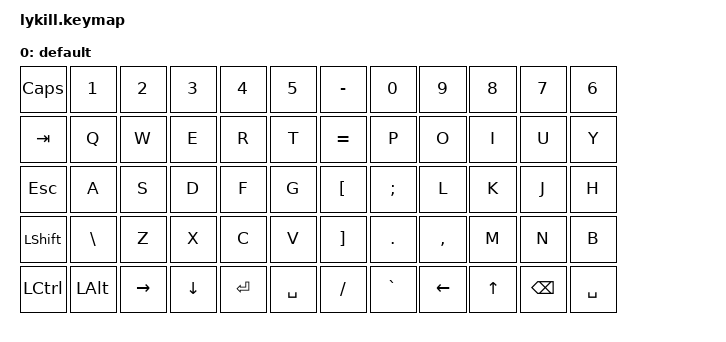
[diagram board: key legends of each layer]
/*
 * Copyright (c) 2020 The ZMK Contributors
 *
 * SPDX-License-Identifier: MIT
 */

#include <behaviors.dtsi>
#include <dt-bindings/zmk/bt.h>
#include <dt-bindings/zmk/ext_power.h>
#include <dt-bindings/zmk/keys.h>
#include <dt-bindings/zmk/rgb.h>

#define BASE 0

/ {
    conditional_layers {
        compatible = "zmk,conditional-layers";
    };

    keymap {
        compatible = "zmk,keymap";

        default_layer {
            label = "default";

            // ------------------------------------------------------------------------------------------------------------------
            //|         ESC |F1   | F2  |  F3  |  F4  |  F5  |
            //| SqBr|   `   |  1  |  2  |  3   |  4   |  5   |                   |  6   |  7    |  8    |  9   |   0   |       |
            //| SqBr|  <    |  Q  |  W  |  E   |  R   |  T   |                   |  Y   |  U    |  I    |  O   |   P   | BKSPC |
            //| Br  |  TAB  |  A  |  S  |  D   |  F   |  G   |                   |  H   |  J    |  K    |  L   |   ;   |   '   |
            //| Br  | SHIFT |  Z  |  X  |  C   |  V   |  B   |    |  |       |  N   |  M    |  ,    |  .   |   /   | SHIFT |
            //               | GUI | ALT  | CTRL | LOWER|  ENTER |  | SPACE | RAISE| CTRL  | ALT   | GUI  |
            // the right keyboard is upside down

            bindings = <
&kp CAPS        &kp N1          &kp N2      &kp N3          &kp N4          &kp N5                  &kp MINUS     &kp N0     &kp N9     &kp N8         &kp N7       &kp N6  
&kp TAB         &kp Q           &kp W       &kp E           &kp R           &kp T                   &kp EQUAL     &kp P      &kp O      &kp I          &kp U        &kp Y    
&kp ESC         &kp A           &kp S       &kp D           &kp F           &kp G                   &kp LBKT      &kp SEMI   &kp L      &kp K          &kp J        &kp H     
&kp LSHFT       &kp BACKSLASH   &kp Z       &kp X           &kp C           &kp V                   &kp RBKT      &kp PERIOD &kp COMMA  &kp M          &kp N        &kp B   
                &kp LCTRL   &kp LALT    &kp RIGHT_ARROW &kp DOWN_ARROW  &kp ENTER  &kp SPACE                  &kp SLASH  &kp GRAVE  &kp LEFT_ARROW &kp UP_ARROW &kp BACKSPACE  &kp SPACE
            >;
        };

    };
};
